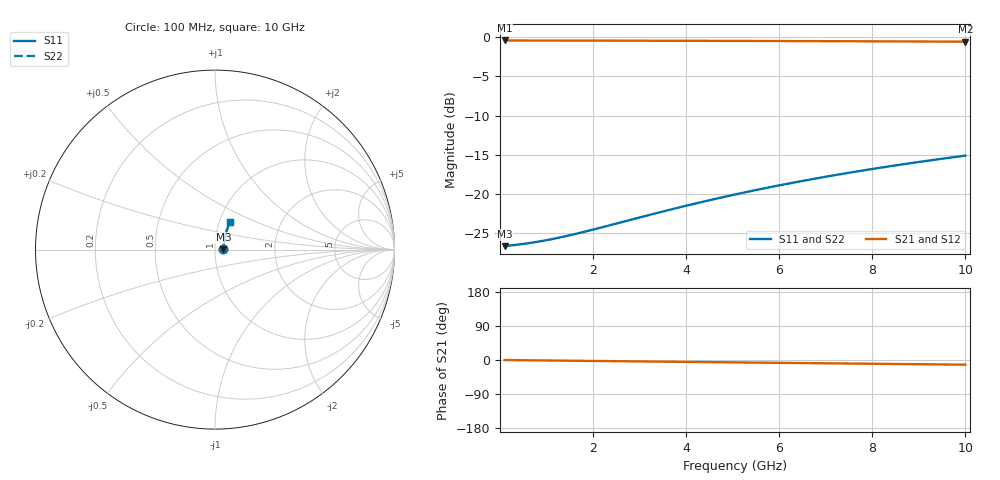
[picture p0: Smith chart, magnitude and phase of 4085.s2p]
# Hz S RI R 50.00
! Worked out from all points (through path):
!   100 points, 100 MHz to 10 GHz, reference 50 ohm
!   highest |S21| = -0.41 dB at 100 MHz (marker M1); lowest = -0.6 dB at 10 GHz (marker M2)
!   group delay of S21, straight-line fit = 3.44 ps
!   lowest |S11| = -26.7 dB at 100 MHz (marker M3), VSWR 1.10, Z = 54.9 + j0.178 ohm
!   |S11| at or under -10 dB: start of sweep to end of sweep
!   |S22| runs from -26.7 to -15.1 dB; largest |S21 - S12| = 0
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1e8  0.0464 0.00162  0.9536 -0.00208  0.9536 -0.00208  0.0464 0.00162
5e8  0.0473 0.00808  0.9527 -0.0104  0.9527 -0.0104  0.0473 0.00808
7e8  0.0477 0.0113  0.9523 -0.0145  0.9523 -0.0145  0.0477 0.0113
9e8  0.048 0.0145  0.952 -0.0187  0.952 -0.0187  0.048 0.0145
1.1e9  0.0483 0.0177  0.9517 -0.0228  0.9517 -0.0228  0.0483 0.0177
1.3e9  0.0486 0.021  0.9514 -0.027  0.9514 -0.027  0.0486 0.021
1.5e9  0.0489 0.0242  0.9511 -0.0311  0.9511 -0.0311  0.0489 0.0242
1.8e9  0.0494 0.029  0.9505 -0.0373  0.9505 -0.0373  0.0494 0.029
2.2e9  0.0502 0.0354  0.9498 -0.0456  0.9498 -0.0456  0.0502 0.0354
3.4e9  0.053 0.0545  0.9469 -0.0702  0.9469 -0.0702  0.053 0.0545
3.9e9  0.0544 0.0624  0.9454 -0.0804  0.9454 -0.0804  0.0544 0.0624
4.3e9  0.0556 0.0687  0.9442 -0.0886  0.9442 -0.0886  0.0556 0.0687
4.7e9  0.057 0.0749  0.9428 -0.0967  0.9428 -0.0967  0.057 0.0749
5.1e9  0.0584 0.0812  0.9413 -0.1048  0.9413 -0.1048  0.0584 0.0812
5.5e9  0.06 0.0874  0.9397 -0.1128  0.9397 -0.1128  0.06 0.0874
5.9e9  0.0616 0.0935  0.938 -0.1209  0.938 -0.1209  0.0616 0.0935
6.3e9  0.0633 0.0996  0.9362 -0.1288  0.9362 -0.1288  0.0633 0.0996
6.7e9  0.0652 0.1057  0.9343 -0.1368  0.9343 -0.1368  0.0652 0.1057
7.5e9  0.0692 0.1178  0.9302 -0.1525  0.9302 -0.1525  0.0692 0.1178
8.4e9  0.0741 0.1311  0.925 -0.1701  0.925 -0.1701  0.0741 0.1311
9.2e9  0.079 0.1427  0.9201 -0.1854  0.9201 -0.1854  0.079 0.1427
1e10  0.0841 0.1542  0.9147 -0.2005  0.9147 -0.2005  0.0841 0.1542
